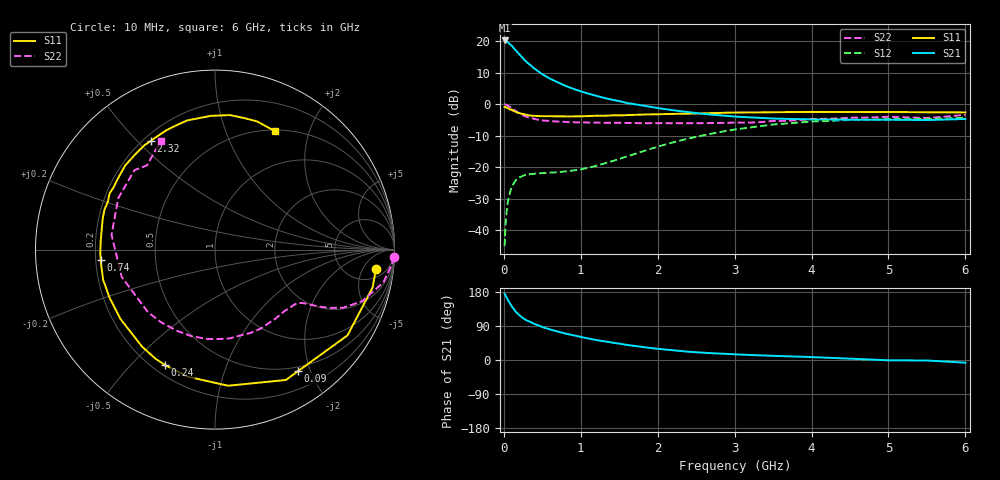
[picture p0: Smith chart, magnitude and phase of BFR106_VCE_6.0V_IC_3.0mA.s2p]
! Infineon Technologies  Discrete & RF Semiconductors
! BFR106
! VCE =  6.0 V,  IC =  3.0 mA
! Common Emitter S-Parameters:  Nov 2015
# GHz  S  MA  R  50
!  f  S11  S21  S12  S22
! GHz  MAG  ANG  MAG  ANG  MAG  ANG  MAG  ANG
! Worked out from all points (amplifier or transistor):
!   210 points, 10 MHz to 6 GHz, reference 50 ohm
!   highest |S21| = 20.2 dB at 10 MHz (marker M1)
!   |S21| within 3 dB of that: start of sweep to 149.9 MHz
!   unconditionally stable (mu >= 1): 720 MHz to 1.825 GHz; 4.389 GHz to end of sweep
!   at 185 MHz: K = 0.29, MSG = 19.9 dB, |S12| = -23.6 dB
!   at 1.52 GHz: K = 1.14, MAG = 6.8 dB, |S12| = -17.2 dB
!   at 6 GHz: K = 1.02, MAG = -1.0 dB, |S12| = -4.3 dB
!   S11 on the Smith chart (normalised r, x): 10 MHz: 8, -10; 90 MHz: 0.44, -1.81; 240 MHz: 0.25, -0.63; 740 MHz: 0.22, -0.04; 2.32 GHz: 0.23, +0.55; 6 GHz: 0.51, +1.50
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0.01  0.9033 -6.7  10.22 175.0  0.0056 88.1  0.9965 -2.3
0.02  0.9032 -13.5  10.18 171.6  0.0111 83.8  0.9896 -4.6
0.05  0.8795 -32.9  9.659 158.8  0.0272 73.5  0.956 -11.0
0.09  0.8201 -55.6  8.691 145.8  0.0438 60.5  0.886 -17.4
0.1  0.8267 -61.5  8.528 142.2  0.0482 58.7  0.8704 -19.2
0.15  0.7619 -84.5  7.235 127.9  0.0612 48.6  0.7842 -24.4
0.2  0.7243 -102.1  6.204 118.4  0.0688 42.3  0.7162 -27.0
0.24  0.7005 -113.5  5.466 111.9  0.0725 38.6  0.673 -28.3
0.26  0.6926 -118.5  5.151 109.0  0.0741 37.3  0.6554 -28.9
0.3  0.6761 -127.0  4.597 104.2  0.0765 35.6  0.6277 -29.6
0.4  0.6533 -143.7  3.647 94.7  0.0791 33.0  0.5782 -31.1
0.5  0.6457 -155.5  2.976 86.8  0.0807 33.1  0.5516 -32.5
0.6  0.6454 -164.9  2.531 80.4  0.0821 34.7  0.5387 -34.6
0.74  0.6395 -175.0  2.103 72.9  0.0841 38.9  0.5262 -38.1
1.02  0.6422 168.9  1.567 59.9  0.0932 50.1  0.5128 -46.2
1.4  0.6655 152.0  1.177 46.2  0.1236 63.4  0.5083 -59.8
2.02  0.692 129.9  0.86 29.2  0.2146 68.2  0.4989 -86.2
2.32  0.7036 120.5  0.768 23.3  0.2697 65.4  0.4979 -101.0
3.1  0.7361 100.0  0.627 14.1  0.4104 50.5  0.5078 -142.4
4.1  0.7527 82.3  0.571 6.9  0.535 28.3  0.582 167.8
5.1  0.7494 70.9  0.565 -0.9  0.5765 10.5  0.6243 134.2
6  0.7397 63.3  0.582 -7.1  0.6089 -1.2  0.6763 116.5
